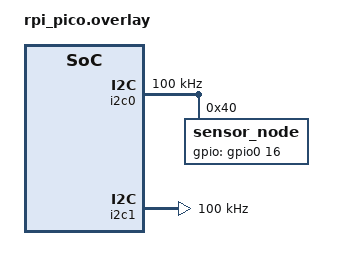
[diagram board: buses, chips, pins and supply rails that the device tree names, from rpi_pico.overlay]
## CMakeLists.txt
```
# SPDX-License-Identifier: Apache-2.0
cmake_minimum_required(VERSION 3.20.0)

# For the sake of demonstration, we add the driver directory as a zephyr module
# by hand. If your driver is a project that's managed by west, you can remove this line.
list(APPEND ZEPHYR_EXTRA_MODULES
  ${CMAKE_CURRENT_SOURCE_DIR}/drivers/sensor_node
  )

# Select our board 
set(BOARD rpi_pico)

# For using west flash with picoprobe
set(OPENOCD "/usr/local/bin/openocd")
set(OPENOCD_DEFAULT_PATH "/usr/local/share/openocd/scripts")
set(RPI_PICO_DEBUG_ADAPTER "picoprobe")

find_package(Zephyr REQUIRED HINTS $ENV{ZEPHYR_BASE})


# This is only used by IntelliSense inside VS Code 
set(CMAKE_EXPORT_COMPILE_COMMANDS ON)

# Project name
project(sensor-driver LANGUAGES C VERSION 0.0.1)

# Add the include directory
zephyr_include_directories(include)

# Add source files
FILE(GLOB SRC_FILES "src/*.c")
target_sources(app PRIVATE ${SRC_FILES})
```

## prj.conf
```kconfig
CONFIG_APPLICATION_DEFINED_SYSCALL=y

# zephyr modules
CONFIG_GPIO=y
CONFIG_I2C=y
CONFIG_SENSOR=y
# CONFIG_I2C_LOG_LEVEL_DBG=y

# log configurations
CONFIG_LOG=y
CONFIG_CBPRINTF_FP_SUPPORT=y
# CONFIG_LOG_BACKEND_UART=y
# CONFIG_LOG_BACKEND_SHOW_COLOR=y
# CONFIG_LOG_INFO_COLOR_GREEN=y

CONFIG_NEWLIB_LIBC=y
CONFIG_NEWLIB_LIBC_FLOAT_PRINTF=y

# multicore
CONFIG_SMP=y
CONFIG_SCHED_CPU_MASK=y

CONFIG_SHELL=y
CONFIG_SHELL_PROMPT_UART="sensor-driver:~$ "

# sensor node
CONFIG_SENSOR_NODE=y
```

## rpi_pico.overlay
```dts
#include <zephyr/dt-bindings/pinctrl/rpi-pico-rp2040-pinctrl.h>



&i2c0 {
    clock-frequency = <I2C_BITRATE_STANDARD>;
    status = "okay";
    pinctrl-0 = <&i2c0_default>;
    pinctrl-names = "default";
    sensor_node: sensor_node@40 {
            compatible = "sensor_node";
            gpios = <&gpio0 16 GPIO_ACTIVE_HIGH>; // use the 20 to debug with the button
            reg = <0x40>;
    };
    // bme680: bme680@77 {
    //     compatible = "bosch,bme680";
    //     reg = <0x77>;
    // };

};

// TODO add pin to connect master through i2c 1
&pinctrl {
    i2c1_default: i2c1_default {
        group1 {
            pinmux = <I2C1_SDA_P6>, <I2C1_SCL_P7>;
            input-enable;
            input-schmitt-enable;
        };
    };
};
&i2c1 {
    clock-frequency = <I2C_BITRATE_STANDARD>;
    status = "okay";
    pinctrl-0 = <&i2c1_default>;
    pinctrl-names = "default";
};
```

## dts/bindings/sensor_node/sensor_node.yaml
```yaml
description: |
    AAA

compatible: "sensor_node"

include: [sensor-device.yaml, i2c-device.yaml]

properties:
    gpios:
        type: phandle-array
        description: |
            Interrupt pin, default is 20.
```

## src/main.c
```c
#include <stdio.h>
#include <zephyr/kernel.h>
#include <zephyr/device.h>
#include <zephyr/drivers/i2c.h>
#include <zephyr/devicetree.h>
#include <zephyr/drivers/gpio.h>
#include <zephyr/drivers/sensor.h>
#include <zephyr/logging/log.h>
#include <zephyr/shell/shell.h>
#include <zephyr/shell/shell_uart.h>
#include <stdlib.h>

// #define LED0_NODE DT_ALIAS(led0)
// #define LED1_NODE DT_ALIAS(led1)

#define MY_STACK_SIZE 5000
#define MY_PRIORITY   5

#define SENSOR_NODE_ADDR 0x40

#define REFRESH_TIME 1000

LOG_MODULE_REGISTER(main, LOG_LEVEL_INF);

K_THREAD_STACK_DEFINE(i2c_stack, MY_STACK_SIZE);

struct k_thread i2c_thread;

const struct device *const i2c_dev = DEVICE_DT_GET(DT_NODELABEL(i2c0));
uint32_t i2c_cfg = I2C_SPEED_SET(I2C_SPEED_STANDARD) | I2C_MODE_CONTROLLER;

const struct device *const sensor = DEVICE_DT_GET_ANY(sensor_node);

static struct sensor_trigger trig;

static void trigger_handler(const struct device *dev, const struct sensor_trigger *trig)
{
	LOG_INF("HANDLING TRIGGER");
}

void enable_interrupt()
{
	// FIXME
	trig.type = SENSOR_TRIG_THRESHOLD;
	trig.chan = SENSOR_ATTR_UPPER_THRESH;
	sensor_trigger_set(sensor, &trig, trigger_handler);
}

void fetch_default_values()
{
	struct sensor_value trig_temp, trig_hum, trig_press, trig_acc;
	sensor_attr_get(sensor, SENSOR_CHAN_AMBIENT_TEMP, SENSOR_ATTR_UPPER_THRESH, &trig_temp);
	sensor_attr_get(sensor, SENSOR_CHAN_HUMIDITY, SENSOR_ATTR_UPPER_THRESH, &trig_hum);
	sensor_attr_get(sensor, SENSOR_CHAN_PRESS, SENSOR_ATTR_UPPER_THRESH, &trig_press);
	sensor_attr_get(sensor, SENSOR_CHAN_ACCEL_XYZ, SENSOR_ATTR_UPPER_THRESH, &trig_acc);
	LOG_DBG("Default:\nT: %f\nP: %f\n H: %f\nACC: %f", 
		sensor_value_to_double(&trig_temp),
		sensor_value_to_double(&trig_hum),
		sensor_value_to_double(&trig_press),
		sensor_value_to_double(&trig_acc)
	);
}

/**
 * @brief Set sensor configurations
 *
 * @param sensor
 */
void init_sensor(const struct device *sensor)
{
	struct sensor_value oversampling;
	// setting the oversampling to x2
	oversampling.val1 = 0b010;
	oversampling.val2 = 0;
	sensor_attr_set(sensor, SENSOR_CHAN_AMBIENT_TEMP, SENSOR_ATTR_OVERSAMPLING,
	&oversampling);
	// setting the oversampling to x1
	oversampling.val1 = 0b001;
	oversampling.val2 = 0;
	sensor_attr_set(sensor, SENSOR_CHAN_HUMIDITY, SENSOR_ATTR_OVERSAMPLING, &oversampling);
	// setting the oversampling to x16
	oversampling.val1 = 0b101;
	oversampling.val2 = 0;
	sensor_attr_set(sensor, SENSOR_CHAN_PRESS, SENSOR_ATTR_OVERSAMPLING, &oversampling);

	// Set the trigger values
	struct sensor_value trig_temp, trig_hum, trig_press, trig_acc;
	sensor_value_from_double(&trig_temp, 50.0); // 50°C
	sensor_attr_set(sensor, SENSOR_CHAN_AMBIENT_TEMP, SENSOR_ATTR_UPPER_THRESH, &trig_temp);
	sensor_value_from_double(&trig_hum, 80.0); // 80 %
	sensor_attr_set(sensor, SENSOR_CHAN_HUMIDITY, SENSOR_ATTR_UPPER_THRESH, &trig_hum);
	sensor_value_from_double(&trig_press, 150.0); // 150 kPa
	sensor_attr_set(sensor, SENSOR_CHAN_PRESS, SENSOR_ATTR_UPPER_THRESH, &trig_press);
	sensor_value_from_double(&trig_acc, 9.81 * 1.5); // 150 kPa
	sensor_attr_set(sensor, SENSOR_CHAN_ACCEL_XYZ, SENSOR_ATTR_UPPER_THRESH, &trig_acc);

	fetch_default_values();

	enable_interrupt();

}

void i2c_communication_test(void *p1, void *p2, void *p3)
{

	struct sensor_value distance, temperature, humidity, pressure;
	struct sensor_value accel[3];

	while (true) {

		sensor_sample_fetch(sensor);
		sensor_channel_get(sensor, SENSOR_CHAN_AMBIENT_TEMP, &temperature);
		sensor_channel_get(sensor, SENSOR_CHAN_PRESS, &pressure);
		sensor_channel_get(sensor, SENSOR_CHAN_HUMIDITY, &humidity);
		sensor_channel_get(sensor, SENSOR_CHAN_DISTANCE, &distance);
		sensor_channel_get(sensor, SENSOR_CHAN_ACCEL_XYZ, accel);

		LOG_INF("Temperature: %d.%03d °C", temperature.val1, temperature.val2);
		LOG_INF("Humidity: %d.%03d %%", humidity.val1, humidity.val2);
		LOG_INF("Pressure: %d.%03d Pa", pressure.val1, pressure.val2);
		LOG_INF("Distance: %d.%03d cm", distance.val1, distance.val2);
		char axis = 'X';
		for (size_t i = 0; i < 3; i++)
		{
			LOG_INF("%c acceleration: %d.%03d [m/s^2] - %d g", axis++, accel[i].val1,
		accel[i].val2, sensor_ms2_to_g(&accel[i]));
		}
		// init_sensor(sensor);
		k_sleep(K_MSEC(2000));
	}
}

static int cmd_calibrate_distance_sensor(const struct shell *sh, size_t argc, char **argv)
{
	ARG_UNUSED(argc);
	ARG_UNUSED(argv);
	shell_print(sh, "*** Position the distance sensor ***");
	shell_print(sh, "Press enter when is in the correct postion.");
	struct sensor_value distance;
	char data;
	int cnt;
	while (data != '\n' && data != 0x0D) {
		sh->iface->api->read(sh->iface, &data, 1, &cnt);
		k_sleep(K_MSEC(500));
		// shell_print(sh, "%c 0x%02X", data, data);
	}
	// FIXME set the calibration value to the sensor node
	sensor_sample_fetch_chan(sensor, SENSOR_CHAN_DISTANCE);
	sensor_channel_get(sensor, SENSOR_CHAN_DISTANCE, &distance);
	shell_print(sh, "sensor calibrated! Threshold distance: %f",
		    sensor_value_to_double(&distance));
	return 0;
}

static int cmd_set_temp_trig(const struct shell *sh, size_t argc, char **argv)
{
	if (argc != 2) {
		shell_print(sh, "expected 2 args, given argc: %d", argc);
		return -1;
	} else {
		struct sensor_value trig_temp;
		float value = strtof(argv[1], NULL);
		sensor_value_from_double(&trig_temp, value); // 50°C
		sensor_attr_set(sensor, SENSOR_CHAN_AMBIENT_TEMP, SENSOR_ATTR_UPPER_THRESH,
				&trig_temp);
	}
	// sensor_attr_get(sensor, SENSOR_CHAN_AMBIENT_TEMP, SENSOR_ATTR_UPPER_THRESH, )
	return 0;
}

static int cmd_set_hum_trig(const struct shell *sh, size_t argc, char **argv)
{
	if (argc != 2) {
		shell_print(sh, "expected 2 args, given argc: %d", argc);
		return -1;
	} else {
		struct sensor_value trig_hum;
		float value = strtof(argv[1], NULL);
		sensor_value_from_double(&trig_hum, value); // 50°C
		sensor_attr_set(sensor, SENSOR_CHAN_HUMIDITY, SENSOR_ATTR_UPPER_THRESH,
				&trig_hum);
	}
	return 0;
}

static int cmd_set_press_trig(const struct shell *sh, size_t argc, char **argv)
{
	if (argc != 2) {
		shell_print(sh, "expected 2 args, given argc: %d", argc);
		return -1;
	} else {
		struct sensor_value trig_press;
		float value = strtof(argv[1], NULL);
		sensor_value_from_double(&trig_press, value); // 50°C
		sensor_attr_set(sensor, SENSOR_CHAN_PRESS, SENSOR_ATTR_UPPER_THRESH,
				&trig_press);
	}
	return 0;
}


void main(void)
{
	LOG_WRN("*** SENSOR DRIVER ***");
	int err;
	if (!device_is_ready(i2c_dev)) {
		LOG_ERR("I2C: Device is not ready.\n");
		return;
	}

	err = i2c_configure(i2c_dev, i2c_cfg);
	if (err != 0) {
		LOG_ERR("i2c_configure\n");
	}

	if (sensor == NULL) {
		LOG_ERR("error, no dev found\n");
		return;
	}

	LOG_INF("Found device \"%s\", getting sensor data\n", sensor->name);

	init_sensor(sensor);

	// shell_execute_cmd(shell_backend_uart_get_ptr(), "log disable");
	// shell_execute_cmd(shell_backend_uart_get_ptr(), "clear");
	// shell_execute_cmd(shell_backend_uart_get_ptr(), "driver calibrate");

	k_tid_t i2c_thread_tid = k_thread_create(
		&i2c_thread, i2c_stack, K_THREAD_STACK_SIZEOF(i2c_stack), i2c_communication_test,
		NULL, NULL, NULL, MY_PRIORITY, K_INHERIT_PERMS, K_FOREVER);

	k_thread_start(i2c_thread_tid);
}

SHELL_STATIC_SUBCMD_SET_CREATE(sensor_driver_cmd,
					SHELL_CMD(calibrate, NULL, "Calibrate the distance sensor.",
					 cmd_calibrate_distance_sensor),
					SHELL_CMD(temp_trig, NULL, "Set the trigger temperature.",
					 cmd_set_temp_trig),
					SHELL_CMD(hum_trig, NULL, "Set the trigger temperature.",
					 cmd_set_hum_trig),
					SHELL_CMD(press_trig, NULL, "Set the trigger temperature.",
					 cmd_set_press_trig),

			       SHELL_SUBCMD_SET_END);
/* Creating root (level 0) command "demo" */
SHELL_CMD_REGISTER(driver, &sensor_driver_cmd, "Sensor Driver commands.", NULL);
```

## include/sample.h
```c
#ifndef SAMPLE_H
#define SAMPLE_H


#include <stdio.h>

#define TEXT "HELLO"

void greet(void);

int add(int a, int b);

#endif
```
